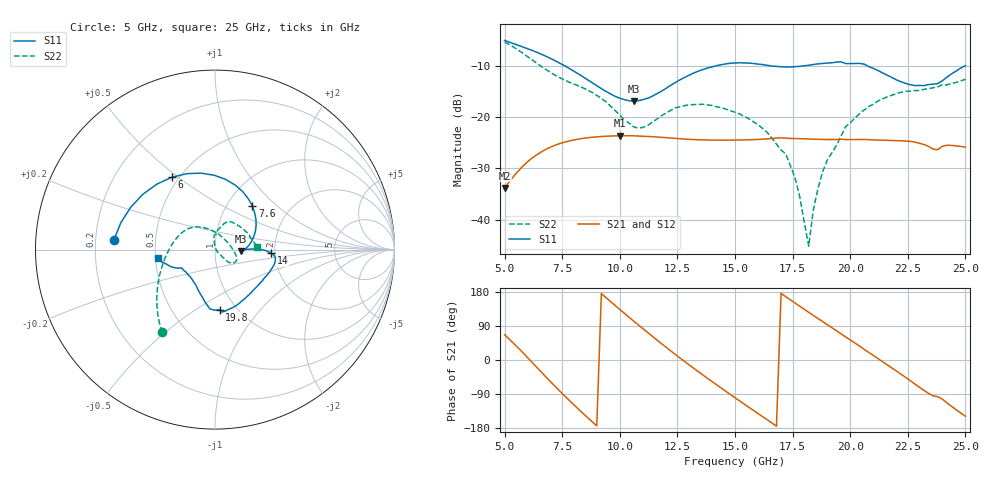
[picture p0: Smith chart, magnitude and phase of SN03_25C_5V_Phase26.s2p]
!File name = SN03_25C_5V_Phase26.s2p
!Date = 2/3/2014
!Time = 2:36 PM
!Test duration(min) = 0.07
!Test = SPars
!MPTS version = 7.120.8
!Comments =
!set_LD1(binary) = 26
!set_LD2(binary) = 524261
!test = SPars
!date_code = 20140203
!file_name = SN03_25C_5V_Phase26.s2p
!VREF(V) = 5.000
!VREF(mA) = 0.002
# GHz  S  DB  R  50
!%	Freq(GHz)  S11(dB)  S11(deg)  S21(dB)  S21(deg)  S12(dB)  S12(deg)  S22(dB)  S22(deg)
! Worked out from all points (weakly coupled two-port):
!   101 points, 5 GHz to 25 GHz, reference 50 ohm
!   highest |S21| = -23.60 dB at 10 GHz (marker M1); lowest = -33.8 dB at 5 GHz (marker M2)
!   lowest |S11| = -16.8 dB at 10.6 GHz (marker M3), VSWR 1.34, Z = 66.9 - j1.1 ohm
!   |S11| at or under -10 dB: 7.644 GHz to 14.1 GHz (6.455 GHz wide, 59.4 % of centre); 16.75 GHz to 17.83 GHz (1.087 GHz wide, 6.29 % of centre); 20.78 GHz to 24.95 GHz (4.164 GHz wide, 18.2 % of centre)
!   |S22| runs from -45.2 to -5.2 dB; largest |S21 - S12| = 0.00031
!   S11 on the Smith chart (normalised r, x): 5 GHz: 0.28, +0.04; 6 GHz: 0.46, +0.47; 7.6 GHz: 1.31, +0.71; 14 GHz: 1.90, -0.08; 19.8 GHz: 0.84, -0.63; 25 GHz: 0.52, -0.05
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5  -4.95 174.4  -33.81 66.6  -33.81 66.7  -5.24 -122.5
6  -6.57 120.9  -28.68 6.1  -28.69 6.1  -8.12 -145.0
6.8  -8.05 81.4  -26.24 -45.1  -26.27 -45.0  -10.65 -167.1
7.6  -9.88 49.4  -24.86 -94.3  -24.89 -94.2  -12.68 168.3
8.4  -12.05 25.2  -24.12 -140.7  -24.15 -140.5  -14.21 145.0
10  -16.26 -2.0  -23.60 133.4  -23.63 133.6  -19.57 97.0
10.6  -16.80 -3.2  -23.61 102.8  -23.64 103.0  -21.85 62.2
11.8  -14.90 0.6  -23.91 43.7  -23.92 43.7  -19.71 -3.0
12.8  -12.21 0.6  -24.25 -3.4  -24.25 -3.4  -17.71 -22.0
14  -10.11 -3.6  -24.46 -56.7  -24.45 -56.8  -17.67 -33.4
15  -9.36 -8.7  -24.45 -99.5  -24.44 -99.7  -19.02 -40.8
16.2  -9.66 -22.5  -24.27 -149.5  -24.29 -149.5  -22.16 -44.0
17.2  -10.13 -41.7  -24.06 167.2  -24.08 167.2  -27.14 -43.5
17.8  -10.02 -54.7  -24.17 142.3  -24.19 142.3  -35.31 -43.2
18.2  -9.80 -62.5  -24.23 125.8  -24.25 125.8  -45.22 43.3
18.4  -9.66 -66.1  -24.27 117.6  -24.28 117.7  -38.12 80.7
18.8  -9.45 -72.5  -24.32 101.5  -24.34 101.5  -30.70 93.3
19.8  -9.47 -85.6  -24.34 60.9  -24.36 61.0  -21.82 92.4
21.8  -12.16 -111.9  -24.53 -20.6  -24.55 -20.5  -15.69 67.7
22.8  -13.78 -132.9  -24.83 -63.1  -24.85 -63.0  -14.76 52.7
23.8  -13.40 -151.6  -26.32 -96.8  -26.33 -96.7  -14.03 30.3
25  -9.87 -171.5  -25.84 -148.4  -25.85 -148.3  -12.57 3.6
